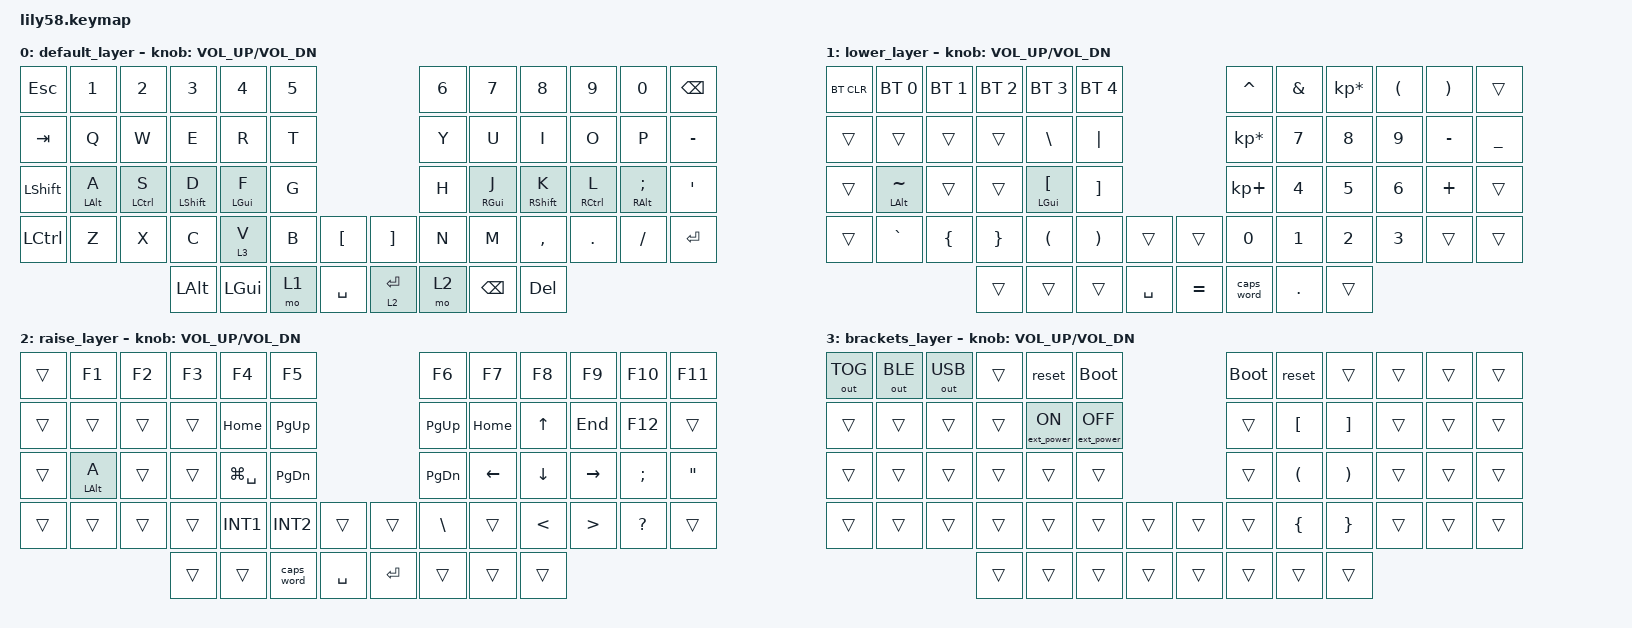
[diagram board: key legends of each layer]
/*
 * Copyright (c) 2020 The ZMK Contributors
 *
 * SPDX-License-Identifier: MIT
 */

#include <behaviors.dtsi>
#include <dt-bindings/zmk/keys.h>
#include <dt-bindings/zmk/bt.h>
#include <dt-bindings/zmk/ext_power.h>
#include <dt-bindings/zmk/outputs.h>

/ {
    combos {
        compatible = "zmk,combos";
        tilde_esc {
            timeout-ms = <3000>;
            key-positions = <0 45>;
	    layers = <0>;
            bindings = <&kp TILDE>;
        };
        grave_esc {
            timeout-ms = <3000>;
            key-positions = <0 46>;
	    layers = <0>;
            bindings = <&kp GRAVE>;
        };
    };
    behaviors {
        bhm: balanced_homerow_mods {
            compatible = "zmk,behavior-hold-tap";
            label = "HOMEROW_MODS";
            #binding-cells = <2>;
            tapping-term-ms = <230>;    // <---[[moderate duration]]
            quick-tap-ms = <0>;
            flavor = "balanced";
            bindings = <&kp>, <&kp>;
        };
    };

	keymap {
		compatible = "zmk,keymap";

		default_layer {
// ------------------------------------------------------------------------------------------------------------
// |  ESC  |  1  |  2  |  3   |  4   |  5   |                   |  6   |  7    |  8    |  9   |   0   |   bspc     |
// |  TAB  |  Q  |  W  |  E   |  R   |  T   |                   |  Y   |  U    |  I    |  O   |   P   |   -        |
// |  CTRL |  A  |  S  |  D   |  F   |  G   |                   |  H   |  J    |  K    |  L   |   ;   |   '        |
// | SHIFT |  Z  |  X  |  C   |  V   |  B   |   "["  |  |  "]"  |  N   |  M    |  ,    |  .   |   /   | rctrl(ret) |
//                     | ALT  | GUI  | LOWER|  SPACE |  | ENTER | RAISE| BSPC  | GUI   |
			bindings = <
&kp ESC   &kp N1      &kp N2       &kp N3         &kp N4        &kp N5                     &kp N6 &kp N7         &kp N8          &kp N9         &kp N0          &kp BSPC
&kp TAB   &kp Q       &kp W        &kp E          &kp R         &kp T                      &kp Y  &kp U          &kp I           &kp O          &kp P           &kp MINUS
&kp LSHFT &bhm LALT A  &bhm LCTRL S  &bhm LSHFT D    &bhm LGUI F    &kp G                  &kp H  &bhm RGUI J    &bhm RSHFT K    &bhm RCTRL L   &bhm RALT SEMI  &kp SQT
&kp LCTRL &kp Z       &kp X        &kp C          &lt 3 V         &kp B  &kp LBKT   &kp RBKT &kp N  &kp M         &kp COMMA      &kp DOT        &kp FSLH        &kp RET
                                   &kp LALT       &kp LGUI      &mo 1  &kp SPACE  &lt 2 RET  &mo 2  &kp BSPC      &kp DEL
			>;

			sensor-bindings = <&inc_dec_kp C_VOL_UP C_VOL_DN>;
		};

		lower_layer {

// |       |  !  |  @  |  #   |  $   |  %   |                   |  ^   |  &    |  *   |  (   |   )  |  BKSC |
// |       |     |     |      |  /   |  |   |                   |  *   |  7    |  8   |  9   |  -   |   _   |
// |       |     |     |      |  [   |  ]   |                   |  +   |  4    |  5   |  6   |  +   |       |
// |       |     |  {  |  }   |  (   |  )   |        |  |       |  0   |  1    |  2   |  3   |  /   |       |
//                     |      |      |      |        |  |   =   |  CP  |  .    |   =  |
			bindings = <
&bt BT_CLR &bt BT_SEL 0  &bt BT_SEL 1       &bt BT_SEL 2    &bt BT_SEL 3       &bt BT_SEL 4                    &kp CARET          &kp AMPS    &kp KP_MULTIPLY    &kp LPAR    &kp RPAR    &trans
&trans  &trans           &trans             &trans          &kp BSLH           &kp PIPE                        &kp KP_MULTIPLY    &kp N7      &kp N8             &kp N9      &kp MINUS   &kp UNDERSCORE
&trans  &bhm LALT TILDE  &trans    	    &trans          &bhm LGUI LBKT     &kp RBKT                        &kp KP_PLUS        &kp N4      &kp N5             &kp N6      &kp PLUS    &trans
&trans  &kp GRAVE           &kp LBRC        &kp RBRC        &kp LPAR           &kp RPAR  &trans     &trans     &kp N0             &kp N1      &kp N2             &kp N3      &trans      &trans
                                &trans      &trans       &trans    &kp SPACE  &kp EQUAL    &caps_word         &kp DOT     &trans
			>;

			sensor-bindings = <&inc_dec_kp C_VOL_UP C_VOL_DN>;
		};

		raise_layer {
			bindings = <
&trans    &kp F1           &kp F2            &kp F3          &kp F4           &kp F5                           &kp F6        &kp F7           &kp F8          &kp F9        &kp F10     &kp F11
&trans    &trans           &trans            &trans          &kp HOME         &kp PG_UP                        &kp PG_UP     &kp HOME         &kp UP          &kp END       &kp F12     &trans
&trans    &bhm LALT A	   &trans            &trans          &kp LG(SPACE)    &kp PG_DN                        &kp PG_DN     &kp LEFT         &kp DOWN        &kp RIGHT     &kp SEMI    &kp DQT
&trans    &trans           &trans            &trans          &kp INT1         &kp INT2      &trans     &trans    &kp BACKSLASH &trans           &kp LT          &kp GT        &kp QMARK   &trans
                                &trans      &trans       &caps_word                            &kp SPACE  &kp RET   &trans        &trans     &trans
			>;

			sensor-bindings = <&inc_dec_kp C_VOL_UP C_VOL_DN>;
		};

		brackets_layer {
			bindings = <
&out OUT_TOG   &out OUT_BLE   &out OUT_USB   &trans   &reset   &bootloader                &bootloader   &reset   &trans   &trans   &trans   &trans
&trans   &trans   &trans   &trans   &ext_power EP_ON   &ext_power EP_OFF                     &trans        &kp LBKT &kp RBKT &trans   &trans   &trans
&trans   &trans   &trans   &trans   &trans   &trans                     &trans        &kp LPAR &kp RPAR &trans   &trans   &trans
&trans   &trans   &trans   &trans   &trans   &trans   &trans   &trans   &trans        &kp LBRC &kp RBRC &trans   &trans   &trans
                                    &trans   &trans   &trans   &trans   &trans   &trans        &trans   &trans
			>;

			sensor-bindings = <&inc_dec_kp C_VOL_UP C_VOL_DN>;
		};

	};
};
